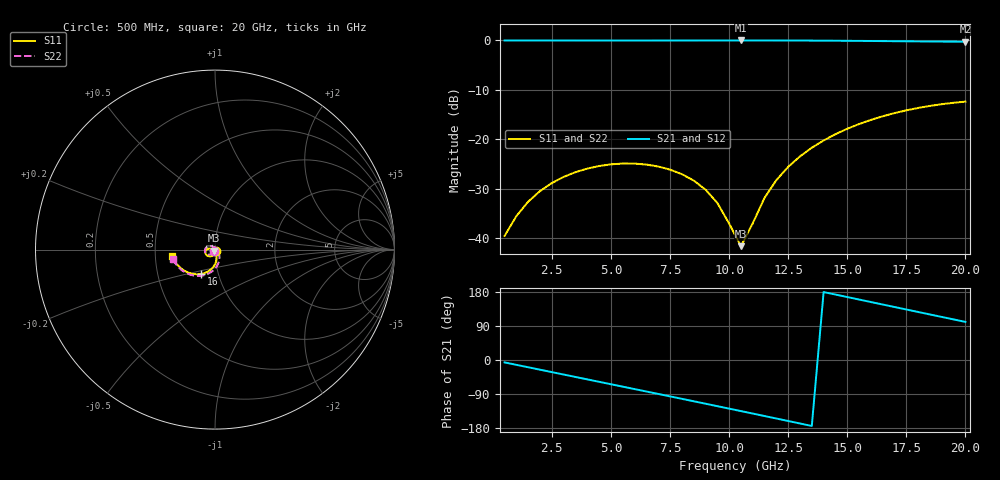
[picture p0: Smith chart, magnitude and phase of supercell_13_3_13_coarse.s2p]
! Touchstone file exported from HFSS 2026.1.0
!  File:  C:/Users/urbaneja/Ansys/13-3-3_super_cell.aedt
!  Generated:  12:46:35 PM Aug 11, 2026
!  Design:  HFSSDesign_Supercell_13_3_13
!  Project:  13-3-3_super_cell
!  Setup:  Setup1
!  Solution:  Sweep_supercell_coarse
! Variables:
!  stub_length = 12um
# GHz S RI R 50.000000
! Terminal data exported
! Port[1] = Port1
! Port[2] = Port2
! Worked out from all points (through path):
!   40 points, 500 MHz to 20 GHz, reference 50 ohm
!   highest |S21| = 0.00 dB at 10.5 GHz (marker M1); lowest = -0.3 dB at 20 GHz (marker M2)
!   group delay of S21, straight-line fit = 36.1 ps
!   lowest |S11| = -41.6 dB at 10.5 GHz (marker M3), VSWR 1.02, Z = 49.4 - j0.544 ohm
!   |S11| at or under -10 dB: start of sweep to end of sweep
!   |S22| runs from -41.6 to -12.4 dB; largest |S21 - S12| = 5.2e-05
!   S11 on the Smith chart (normalised r, x): 500 MHz: 1.01, -0.02; 16 GHz: 0.83, -0.23; 20 GHz: 0.61, -0.05
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0.5  0.00642 -0.00835  0.9937 -0.1114  0.9937 -0.1114  -0.00811 -0.00672
! Gamma 0 447.034122201352 0 429.813512138505
! Port Impedance 50 0 50 0
1  0.00381 -0.0163  0.975 -0.2214  0.975 -0.2214  -0.0105 -0.013
1.5  -0.000377 -0.0234  0.9442 -0.3286  0.9442 -0.3286  -0.0142 -0.0186
2  -0.0059 -0.0293  0.9015 -0.4317  0.9015 -0.4317  -0.0192 -0.023
3  -0.0196 -0.0367  0.7833 -0.6203  0.7833 -0.6203  -0.0312 -0.0275
4  -0.0342 -0.0371  0.6264 -0.7779  0.6264 -0.7779  -0.0436 -0.0255
5.5  -0.0504 -0.0261  0.3359 -0.9402  0.3359 -0.9402  -0.0556 -0.0118
7  -0.0524 -0.00819  0.00759 -0.9986  0.00759 -0.9986  -0.0525 0.00739
8  -0.0443 0.00165  -0.2149 -0.9756  -0.2149 -0.9756  -0.0409 0.0171
9  -0.0305 0.0055  -0.4276 -0.9034  -0.4276 -0.9034  -0.0236 0.0201
9.5  -0.0223 0.00427  -0.5269 -0.8496  -0.5269 -0.8496  -0.0137 0.0181
10.5  -0.00619 -0.00551  -0.7046 -0.7096  -0.7046 -0.7096  0.00546 0.00623
11  0.00061 -0.0141  -0.7805 -0.625  -0.7805 -0.625  0.0136 -0.00367
11.5  0.00576 -0.0249  -0.8464 -0.532  -0.8464 -0.532  0.0199 -0.016
12  0.0087 -0.0376  -0.9011 -0.4318  -0.9011 -0.4318  0.0239 -0.0304
12.5  0.00895 -0.0518  -0.944 -0.3259  -0.944 -0.3259  0.0249 -0.0463
13.5  -3.25e-05 -0.0821  -0.9914 -0.1025  -0.9913 -0.1025  0.0168 -0.0803
14.5  -0.0225 -0.1103  -0.9857 0.1257  -0.9857 0.1257  -0.00585 -0.1124
16  -0.0785 -0.1359  -0.8798 0.4486  -0.8798 0.4486  -0.0639 -0.1434
17  -0.1246 -0.1353  -0.7512 0.6339  -0.7512 0.6339  -0.1124 -0.1456
18.5  -0.1917 -0.1027  -0.4906 0.8438  -0.4906 0.8438  -0.1841 -0.1158
20  -0.2375 -0.0371  -0.1775 0.9543  -0.1775 0.9543  -0.2349 -0.0508
